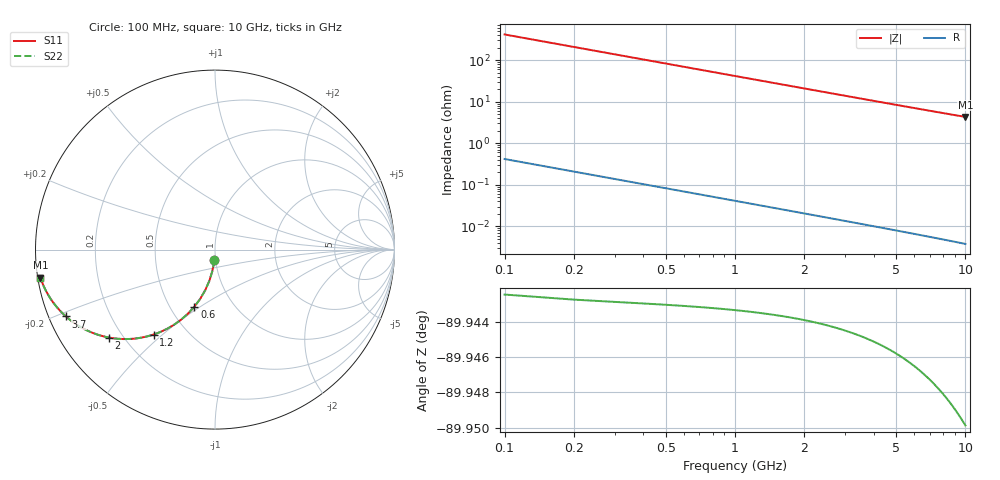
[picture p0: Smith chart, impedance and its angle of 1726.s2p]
# Hz S RI R 50.00
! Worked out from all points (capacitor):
!   100 points, 100 MHz to 10 GHz, reference 50 ohm
!   read as one part in shunt: C = 3.82 pF near 100 MHz
!   lowest |Z| = 4.31 ohm at 10 GHz (marker M1)
!   S11 on the Smith chart (normalised r, x): 100 MHz: 0.99, -0.12; 600 MHz: 0.66, -0.47; 1.2 GHz: 0.33, -0.47; 2 GHz: 0.15, -0.35; 3.7 GHz: 0.05, -0.21; 10 GHz: 0.01, -0.08
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1e8  -0.00363 -0.0598  0.9963 -0.0599  0.9963 -0.0599  -0.00363 -0.0598
2e8  -0.0143 -0.1182  0.9856 -0.1185  0.9856 -0.1185  -0.0143 -0.1182
3e8  -0.0316 -0.1742  0.9684 -0.1746  0.9684 -0.1746  -0.0316 -0.1742
4e8  -0.0547 -0.2267  0.9453 -0.2272  0.9453 -0.2272  -0.0547 -0.2267
5e8  -0.0829 -0.2749  0.9171 -0.2755  0.9171 -0.2755  -0.0829 -0.2749
6e8  -0.115 -0.3183  0.8849 -0.3189  0.8849 -0.3189  -0.115 -0.3183
7e8  -0.1503 -0.3565  0.8497 -0.3573  0.8497 -0.3573  -0.1503 -0.3565
9e8  -0.2261 -0.4173  0.7739 -0.4183  0.7739 -0.4183  -0.2261 -0.4173
1.2e9  -0.3415 -0.4731  0.6584 -0.4744  0.6584 -0.4744  -0.3415 -0.4731
1.5e9  -0.4474 -0.4959  0.5525 -0.4976  0.5525 -0.4976  -0.4474 -0.4959
1.8e9  -0.5381 -0.497  0.4619 -0.4991  0.4619 -0.4991  -0.5381 -0.497
2e9  -0.5897 -0.4902  0.4102 -0.4925  0.4102 -0.4925  -0.5897 -0.4902
2.3e9  -0.6551 -0.4735  0.3448 -0.4761  0.3448 -0.4761  -0.6551 -0.4735
2.6e9  -0.7081 -0.4527  0.2919 -0.4556  0.2919 -0.4556  -0.7081 -0.4527
3e9  -0.7634 -0.4228  0.2366 -0.4262  0.2366 -0.4262  -0.7634 -0.4228
3.4e9  -0.8054 -0.3934  0.1945 -0.3973  0.1945 -0.3973  -0.8054 -0.3934
3.7e9  -0.8305 -0.3726  0.1695 -0.3768  0.1695 -0.3768  -0.8305 -0.3726
4.3e9  -0.8686 -0.3349  0.1314 -0.3398  0.1314 -0.3398  -0.8686 -0.3349
5.1e9  -0.9028 -0.2928  0.0972 -0.2986  0.0972 -0.2986  -0.9028 -0.2928
6.7e9  -0.9412 -0.2308  0.0587 -0.2386  0.0587 -0.2386  -0.9412 -0.2308
8.4e9  -0.9618 -0.1862  0.0381 -0.196  0.0381 -0.196  -0.9618 -0.1862
1e10  -0.9728 -0.1562  0.0271 -0.168  0.0271 -0.168  -0.9728 -0.1562
